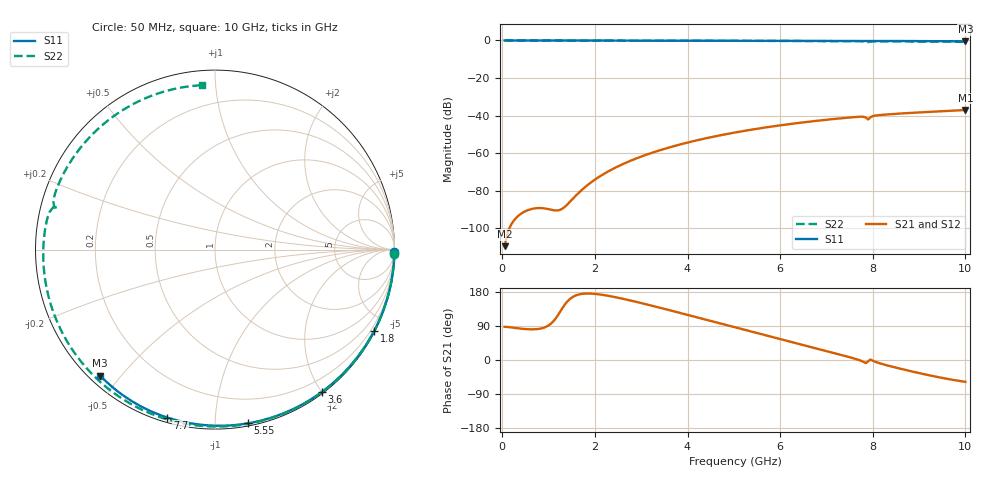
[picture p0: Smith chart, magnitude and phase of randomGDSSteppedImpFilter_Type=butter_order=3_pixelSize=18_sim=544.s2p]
! freq	dB(S11)	phase(S11)	dB(S12)	phase(S12)
!  dB(S21)	phase(S21)	dB(S22)	phase(S22)
!S-par simulation data
#  GHz  S  DB  R 50
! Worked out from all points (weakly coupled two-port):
!   200 points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, 50 MHz to 10 GHz, reference 50 ohm
!   highest |S21| = -36.99 dB at 10 GHz (marker M1); lowest = -109.5 dB at 50 MHz (marker M2)
!   lowest |S11| = -0.4 dB at 10 GHz (marker M3), VSWR 38.90, Z = 1.54 - j22.1 ohm
!   |S11| at or under -10 dB: nowhere
!   |S22| runs from -0.9 to 0.0 dB; largest |S21 - S12| = 0
!   S11 on the Smith chart (normalised r, x): 50 MHz: open; 1.8 GHz: 0.04, -4.14; 3.6 GHz: 0.02, -2.00; 5.55 GHz: 0.02, -1.21; 7.7 GHz: 0.02, -0.76; 10 GHz: 0.03, -0.44
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0.05  -0.00 -0.8  -109.50 87.6  -109.50 87.6  -0.00 -1.3
0.85  -0.02 -13.0  -89.24 83.5  -89.24 83.5  -0.03 -22.0
1.65  -0.03 -25.0  -81.09 172.8  -81.09 172.8  -0.05 -42.3
1.75  -0.03 -26.4  -78.84 174.9  -78.84 174.9  -0.06 -44.9
1.8  -0.03 -27.2  -77.79 175.3  -77.79 175.3  -0.06 -46.1
2.1  -0.04 -31.6  -72.44 173.0  -72.44 173.0  -0.07 -53.5
2.45  -0.05 -36.7  -67.60 165.6  -67.60 165.6  -0.08 -62.1
2.9  -0.06 -43.2  -62.74 153.2  -62.74 153.2  -0.09 -73.0
3.4  -0.07 -50.3  -58.46 138.0  -58.46 138.0  -0.11 -85.0
3.6  -0.07 -53.1  -56.99 131.8  -56.99 131.8  -0.12 -89.7
4.3  -0.09 -62.8  -52.60 109.5  -52.60 109.5  -0.15 -106.0
5.05  -0.11 -72.8  -48.88 85.5  -48.88 85.5  -0.19 -123.4
5.55  -0.13 -79.3  -46.82 69.5  -46.82 69.5  -0.22 -135.1
6.7  -0.18 -93.7  -43.02 33.0  -43.02 33.0  -0.32 -162.8
7.7  -0.24 -105.8  -40.63 0.0  -40.63 0.0  -0.44 170.4
7.8  -0.25 -107.0  -40.64 -5.0  -40.64 -5.0  -0.49 167.1
7.9  -0.25 -108.2  -42.04 -3.6  -42.04 -3.6  -0.86 165.1
8  -0.26 -109.4  -40.25 -1.8  -40.25 -1.8  -0.55 163.5
8.35  -0.29 -113.5  -39.31 -15.5  -39.31 -15.5  -0.50 152.4
8.8  -0.33 -118.7  -38.59 -29.0  -38.59 -29.0  -0.56 138.1
9.3  -0.37 -124.4  -37.93 -42.4  -37.93 -42.4  -0.62 121.0
10  -0.45 -132.4  -36.99 -57.7  -36.99 -57.7  -0.74 94.6
